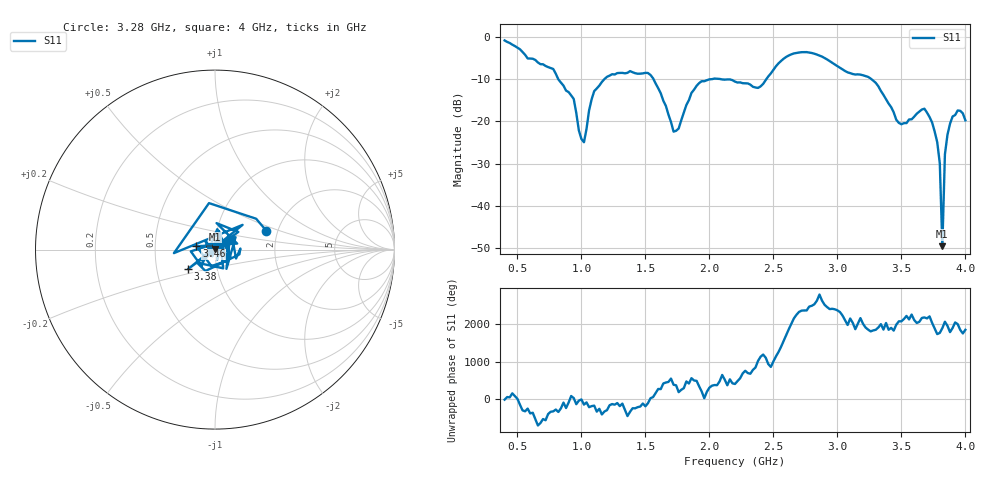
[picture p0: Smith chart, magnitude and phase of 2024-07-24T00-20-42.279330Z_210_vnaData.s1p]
!Created with skrf (http://scikit-rf.org).
# Hz S RI R 50.0
!freq ReS11 ImS11
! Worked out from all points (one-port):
!   181 points, 400 MHz to 4 GHz, reference 50 ohm
!   lowest |S11| = -49.6 dB at 3.82 GHz (marker M1), VSWR 1.01, Z = 50.1 + j0.328 ohm
!   |S11| at or under -10 dB: 819.7 MHz to 1.178 GHz (358.7 MHz wide, 35.9 % of centre); 1.564 GHz to 2.003 GHz (439.4 MHz wide, 24.6 % of centre); 3.267 GHz to end of sweep (the widest 3 of 4)
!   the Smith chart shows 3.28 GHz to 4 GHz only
!   S11 on the Smith chart (normalised r, x): 3.28 GHz: 1.74, +0.40; 3.38 GHz: 0.73, -0.16; 3.46 GHz: 0.81, +0.03; 4 GHz: 1.17, +0.15
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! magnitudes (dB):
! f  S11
! 400 MHz  -0.8
! 780 MHz  -7.6
! 860 MHz  -11.5
! 940 MHz  -14.7
! 980 MHz  -22.1
! 1.02 GHz  -24.9
! 1.1 GHz  -12.8
! 1.3 GHz  -8.5
! 1.54 GHz  -9.0
! 1.72 GHz  -22.4
! 1.76 GHz  -21.7
! 1.92 GHz  -10.9
! 2.2 GHz  -10.6
! 2.38 GHz  -12.0
! 2.66 GHz  -3.9
! 3.1 GHz  -8.5
! 3.28 GHz  -10.3
! 3.38 GHz  -14.7
! 3.46 GHz  -19.6
! 3.56 GHz  -19.5
! 3.68 GHz  -17.0
! 3.76 GHz  -22.4
! 3.8 GHz  -29.9
! 3.82 GHz  -49.6
! 3.84 GHz  -27.8
! 3.86 GHz  -23.1
! 3.94 GHz  -17.4
! 4 GHz  -19.7
